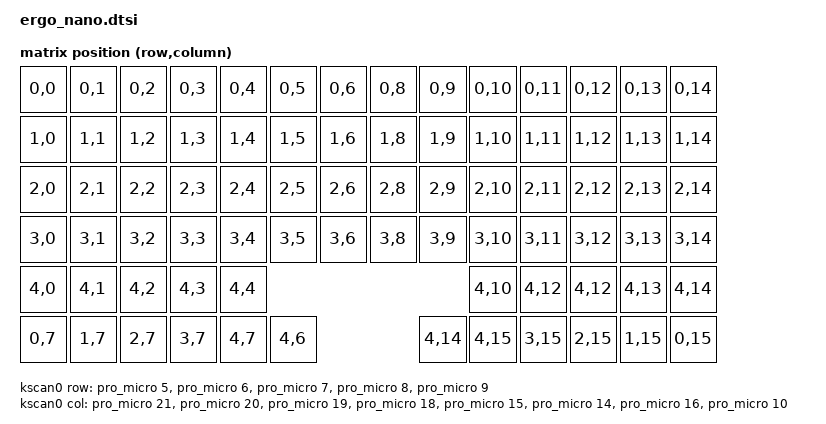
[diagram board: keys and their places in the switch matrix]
#include "ergo_nano-layouts.dtsi"
#include <dt-bindings/zmk/matrix_transform.h>

/ {
    kscan0: kscan0 {
        compatible = "zmk,kscan-gpio-matrix";
                diode-direction = "col2row";
        wakeup-source;

        col-gpios
            = <&pro_micro 21 GPIO_ACTIVE_HIGH>
            , <&pro_micro 20 GPIO_ACTIVE_HIGH>
            , <&pro_micro 19 GPIO_ACTIVE_HIGH>
            , <&pro_micro 18 GPIO_ACTIVE_HIGH>
            , <&pro_micro 15 GPIO_ACTIVE_HIGH>
            , <&pro_micro 14 GPIO_ACTIVE_HIGH>
            , <&pro_micro 16 GPIO_ACTIVE_HIGH>
            , <&pro_micro 10 GPIO_ACTIVE_HIGH>
            ;

        row-gpios
            = <&pro_micro 5 (GPIO_ACTIVE_HIGH | GPIO_PULL_DOWN)>
            , <&pro_micro 6 (GPIO_ACTIVE_HIGH | GPIO_PULL_DOWN)>
            , <&pro_micro 7 (GPIO_ACTIVE_HIGH | GPIO_PULL_DOWN)>
            , <&pro_micro 8 (GPIO_ACTIVE_HIGH | GPIO_PULL_DOWN)>
            , <&pro_micro 9 (GPIO_ACTIVE_HIGH | GPIO_PULL_DOWN)>
            ;
    };

    chosen {
        zmk,physical-layout = &physical_layout_ergo_nano;
    };

    matrix_transform0: matrix_transform0 {
        compatible = "zmk,matrix-transform";
        columns = <16>;
        rows = <5>;
        map = <
            /*               | ------------------- LEFT HAND ----------------------| | ----------------------- RIGHT HAND --------------------| */
            /* Num Row    */ RC(0,0) RC(0,1) RC(0,2) RC(0,3) RC(0,4) RC(0,5) RC(0,6) RC(0,8) RC(0,9) RC(0,10) RC(0,11) RC(0,12) RC(0,13) RC(0,14)
            /* Top Row    */ RC(1,0) RC(1,1) RC(1,2) RC(1,3) RC(1,4) RC(1,5) RC(1,6) RC(1,8) RC(1,9) RC(1,10) RC(1,11) RC(1,12) RC(1,13) RC(1,14)
            /* Home Row   */ RC(2,0) RC(2,1) RC(2,2) RC(2,3) RC(2,4) RC(2,5) RC(2,6) RC(2,8) RC(2,9) RC(2,10) RC(2,11) RC(2,12) RC(2,13) RC(2,14)
            /* Bottom Row */ RC(3,0) RC(3,1) RC(3,2) RC(3,3) RC(3,4) RC(3,5) RC(3,6) RC(3,8) RC(3,9) RC(3,10) RC(3,11) RC(3,12) RC(3,13) RC(3,14)
            /* Mod Row    */ RC(4,0) RC(4,1) RC(4,2) RC(4,3) RC(4,4)                                 RC(4,10) RC(4,12) RC(4,12) RC(4,13) RC(4,14)
            /* Thumb + ENC*/ RC(0,7) RC(1,7) RC(2,7) RC(3,7) RC(4,7) RC(4,6)                RC(4,14) RC(4,15) RC(3,15) RC(2,15) RC(1,15) RC(0,15)
        >;
    };
};

&physical_layout_ergo_nano {
    transform = <&matrix_transform0>;
};

// pin control for spi0
// - SCK on D3
// - MOSI on D2
&pinctrl {
    /* configuration for spi0 device, default state */
    spi0_default: spi0_default {
        group1 {
            psels = <NRF_PSEL(SPIM_SCK, 0, 20)>,
                    <NRF_PSEL(SPIM_MOSI, 0, 17)>;
        };
    };
    /* configuration for spi0 device, sleep state */
    spi0_sleep: spi0_sleep {
        group1 {
            psels = <NRF_PSEL(SPIM_SCK, 0, 20)>,
                    <NRF_PSEL(SPIM_MOSI, 0, 17)>;
            low-power-enable;
        };
    };
};
&spi0 {
    compatible = "nordic,nrf-spim";
    status = "okay";
    pinctrl-0 = <&spi0_default>;
    pinctrl-1 = <&spi0_sleep>;
    pinctrl-names = "default", "sleep";
    cs-gpios = <&pro_micro 1 GPIO_ACTIVE_HIGH>;
    
};

/* Expose the label required by the ZMK nice_view shield configuration (placed safely outside the brackets) */
nice_view_spi: &spi0 { };

// Encoders for all parts of the keyboard.
// If the encoder(s) are not behaving as expected,
// update steps and triggers-per-rotation to match your hardware.
// All pin assignments are done in the part overlays.

/ {
    encoder_left0: encoder_left0 {
        compatible = "alps,ec11";
        steps = <80>;
        status = "disabled";
    };
    encoder_right0: encoder_right0 {
        compatible = "alps,ec11";
        steps = <80>;
        status = "disabled";
    };

    sensors: sensors {
        compatible = "zmk,keymap-sensors";
        sensors = <&encoder_left0 &encoder_right0>;
        triggers-per-rotation = <20>;
    };
};

